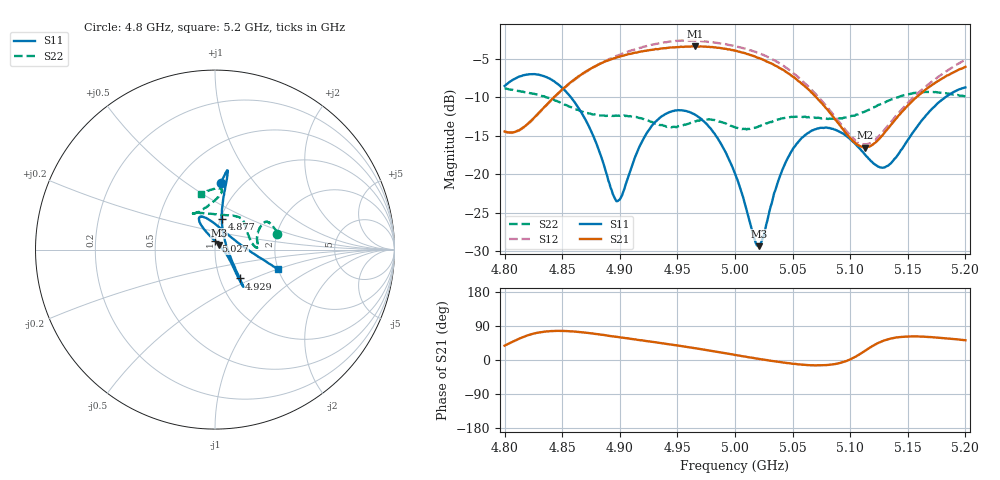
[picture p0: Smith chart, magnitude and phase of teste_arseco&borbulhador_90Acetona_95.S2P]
! Network Analyzer HP8722D
! Hewlett-Packard
! Data name: Linha & Wilkinson
! Saver's name: Rodrigo Anjos
! Comments: Teste da utilização de aquisição
! continua pelo VNA HP8722D
! Time and date: 17/4/2025 11:50
!  Frequency  S11  S21  S12  S22
# HZ  S  MA R 50
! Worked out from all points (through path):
!   401 points, 4.8 GHz to 5.2 GHz, reference 50 ohm
!   highest |S21| = -3.39 dB at 4.965 GHz (marker M1); lowest = -16.5 dB at 5.113 GHz (marker M2)
!   lowest |S11| = -29.3 dB at 5.021 GHz (marker M3), VSWR 1.07, Z = 52.3 + j2.66 ohm
!   |S11| at or under -10 dB: 4.858 GHz to 5.183 GHz (325 MHz wide, 6.47 % of centre)
!   |S22| runs from -14.2 to -8.9 dB; largest |S21 - S12| = 0.24
!   S11 on the Smith chart (normalised r, x): 4.8 GHz: 0.80, +0.69; 4.877 GHz: 1.01, +0.36; 4.929 GHz: 1.24, -0.42; 5.027 GHz: 1.00, +0.09; 5.2 GHz: 1.99, -0.50
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4.8e9  0.3744 85.0  0.1896 37.9  0.1895 -1.7  0.3592 14.4
4.814e9  0.433 81.9  0.1964 58.0  0.1953 19.3  0.3442 23.3
4.835e9  0.4309 80.6  0.2755 74.9  0.2739 38.4  0.3189 28.8
4.867e9  0.249 80.4  0.4463 73.0  0.443 43.2  0.2552 21.6
4.877e9  0.1772 77.5  0.4948 69.5  0.4933 42.3  0.2444 16.7
4.898e9  0.06686 18.4  0.5755 60.8  0.5882 39.2  0.2398 7.0
4.917e9  0.1508 -42.2  0.6236 52.7  0.66 35.0  0.2318 2.7
4.929e9  0.2114 -49.5  0.6436 47.6  0.6968 31.8  0.2159 6.3
4.934e9  0.2305 -50.9  0.6511 45.2  0.7088 30.0  0.2091 9.5
4.965e9  0.2445 -52.5  0.677 31.2  0.7365 18.3  0.2206 41.4
4.983e9  0.1798 -48.6  0.6659 22.4  0.7151 11.5  0.2236 54.3
5e9  0.1011 -35.6  0.6342 13.3  0.6797 5.1  0.2021 72.1
5.017e9  0.03779 16.2  0.5821 4.8  0.6264 -1.1  0.2001 96.1
5.021e9  0.03412 48.1  0.5677 2.9  0.6108 -2.8  0.2054 101.3
5.027e9  0.04666 86.6  0.5414 0.0  0.5854 -4.8  0.2138 107.7
5.044e9  0.1196 117.4  0.4633 -7.5  0.4931 -10.8  0.2327 118.5
5.067e9  0.1926 117.8  0.3368 -13.8  0.3497 -13.6  0.2347 120.8
5.089e9  0.1915 108.9  0.2169 -9.2  0.2254 -5.0  0.2291 112.1
5.113e9  0.1338 84.3  0.149 24.7  0.1563 32.1  0.2555 95.4
5.134e9  0.1156 33.2  0.2029 55.6  0.212 65.9  0.3022 85.3
5.171e9  0.266 -11.3  0.3803 60.2  0.4001 78.1  0.3418 87.6
5.2e9  0.3663 -17.2  0.4986 52.2  0.5531 75.9  0.3202 104.4
